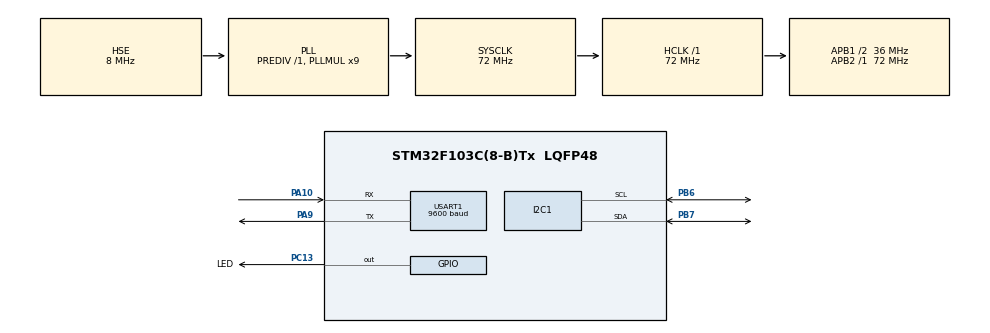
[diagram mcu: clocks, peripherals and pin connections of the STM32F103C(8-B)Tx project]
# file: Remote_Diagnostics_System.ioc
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I2C1.I2C_Mode=I2C_Standard
Mcu.Family=STM32F1
Mcu.Name=STM32F103C(8-B)Tx
Mcu.Package=LQFP48
NVIC.PriorityGroup=NVIC_PRIORITYGROUP_4
PA10.Mode=Asynchronous
PA10.Signal=USART1_RX
PA13.Mode=Trace_Asynchronous_SW
PA13.Signal=SYS_JTMS-SWDIO
PA14.Mode=Trace_Asynchronous_SW
PA14.Signal=SYS_JTCK-SWCLK
PA9.Mode=Asynchronous
PA9.Signal=USART1_TX
PB3.Mode=Trace_Asynchronous_SW
PB3.Signal=SYS_JTDO-TRACESWO
PB6.Mode=I2C
PB6.Signal=I2C1_SCL
PB7.Mode=I2C
PB7.Signal=I2C1_SDA
PC13-TAMPER-RTC.GPIO_Label=LED
PC13-TAMPER-RTC.Signal=GPIO_Output
PD0-OSC_IN.Mode=HSE-External-Oscillator
PD0-OSC_IN.Signal=RCC_OSC_IN
PD1-OSC_OUT.Mode=HSE-External-Oscillator
PD1-OSC_OUT.Signal=RCC_OSC_OUT
ProjectManager.HeapSize=0x200
ProjectManager.StackSize=0x400
ProjectManager.TargetToolchain=STM32CubeIDE
RCC.ADCPresc=RCC_ADCPCLK2_DIV6
RCC.AHBFreq_Value=72000000
RCC.APB1CLKDivider=RCC_HCLK_DIV2
RCC.APB1Freq_Value=36000000
RCC.APB1TimFreq_Value=72000000
RCC.APB2Freq_Value=72000000
RCC.APB2TimFreq_Value=72000000
RCC.HCLKFreq_Value=72000000
RCC.PLLMUL=RCC_PLL_MUL9
RCC.PLLSourceVirtual=RCC_PLLSOURCE_HSE
RCC.SYSCLKFreq_VALUE=72000000
RCC.SYSCLKSource=RCC_SYSCLKSOURCE_PLLCLK
RCC.USBFreq_Value=72000000
USART1.BaudRate=9600
USART1.VirtualMode=VM_ASYNC
board=custom

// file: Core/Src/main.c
/* USER CODE BEGIN Header */
/**
  ******************************************************************************
  * @file           : main.c
  * @brief          : Main program body
  ******************************************************************************
  * @attention
  *
  * <h2><center>&copy; Copyright (c) 2020 STMicroelectronics.
  * All rights reserved.</center></h2>
  *
  * This software component is licensed by ST under BSD 3-Clause license,
  * the "License"; You may not use this file except in compliance with the
  * License. You may obtain a copy of the License at:
  *                        opensource.org/licenses/BSD-3-Clause
  *
  ******************************************************************************
  */
/* USER CODE END Header */

#include "main.h"

/* USER CODE BEGIN Includes */
#include <stdlib.h>
#include <stdio.h>
#include "MPU6050_LIB.h"

/* USER CODE END Includes */

I2C_HandleTypeDef hi2c1;

UART_HandleTypeDef huart1;

/* USER CODE BEGIN PV */

// seed values
float ax=0.0, ay=100.0, az=200.0;
//int iax=0;
uint8_t bytes_temp[4];

/*
 * @brief Structure to hold and receive all sensor data
 * @param Voltage (V), Current (I), Temperature (t), Speed (S), Throttle (Th),
 * @size (5 x uint16) + (6 x Bool(1)) + (6 x Float(4)) = 34B + 1B (for Bool)
 */

struct TX_Frame{

	//uint16_t V,I,t,S, Th;
	//_Bool _Sys, _HL, _FAIL, _BR, _MODEH, _MODEL;
	float AX, AY, AZ; //GX, GY, GZ;

} TX_Data1;
/* USER CODE END PV */

void SystemClock_Config(void);
static void MX_GPIO_Init(void);
static void MX_I2C1_Init(void);
static void MX_USART1_UART_Init(void);

/* USER CODE BEGIN 0 */

float genXLvals(uint16_t min, uint16_t max)
{
  return (rand() % ((max-min+1)) + min);
}

/*
 * @brief Function to convert and send data over UART
 * @param XL_Data, UART Handle Typedef
 */
void sendStruct(struct TX_Frame* data, UART_HandleTypeDef* huart){
  // UART can only send unsigned int
  // Thus we need to convert our struct data
  char buffer[sizeof(data)]; // Create a char buffer of right size

  // Copy the data to buffer
  memcpy(buffer, &data, sizeof(data)); // Copy and convert the data
  // Ideally buffer will be 12B long, 4B for each axes data
  // Now we can finally send this data
  HAL_UART_Transmit(huart, (uint8_t*) buffer, sizeof(buffer), 50);
  // The last param is timeout duration in ms
}

//Custom write funtion for printing in SWO printf Trace
int _write(int file, char *ptr, int len)
{
  /* Implement your write code here, this is used by puts and printf for example */
  int i=0;
  for(i=0 ; i<len ; i++)
    ITM_SendChar((*ptr++));
  return len;
}

/* USER CODE END 0 */

int main(void)
{
  /* USER CODE BEGIN 1 */
  //HAL_UART_Transmit(&huart1, (uint8_t*)"initialized \n", strlen("initialized \n"), 500);

  //HAL_Delay(1000);
  //HAL_UART_Transmit(&huart1, (uint8_t*)"MPU6050 \n", strlen("MPU6050 \n"), 500);

  /* USER CODE END 1 */

  /* MCU Configuration--------------------------------------------------------*/

  /* Reset of all peripherals, Initializes the Flash interface and the Systick. */
  HAL_Init();

  /* USER CODE BEGIN Init */
  //MPU6050_Init();

  /* USER CODE END Init */

  /* Configure the system clock */
  SystemClock_Config();

  /* Initialize all configured peripherals */
  MX_GPIO_Init();
  MX_I2C1_Init();
  MX_USART1_UART_Init();
  /* USER CODE BEGIN 2 */
  void float2Bytes(uint8_t* ftoa_bytes_temp,float float_variable)
  {
    union
	{
      float a;
      unsigned char bytes[4];
    } thing;

    thing.a = float_variable;

    for (uint8_t i = 0; i < 4; i++)
    {
		  ftoa_bytes_temp[i] = thing.bytes[i];
	}

  }

  /* USER CODE END 2 */

  /* Infinite loop */
  /* USER CODE BEGIN WHILE */
  while (1)
  {

	  // Indicate Start of Sequence with "S"
	  HAL_UART_Transmit(&huart1,"S", 1, 50);

	  //Read Fresh Accelerometer Values
	  //MPU6050_Read_Accel();

	  // Populate the Accelerometer Structure
	  HAL_GPIO_WritePin(LED_GPIO_Port, LED_Pin, RESET);
	  float2Bytes(bytes_temp,ax);
	  HAL_UART_Transmit(&huart1,bytes_temp, sizeof(bytes_temp), 50);
	  ax= ax+0.1;
	  float2Bytes(bytes_temp,ay);
	  HAL_UART_Transmit(&huart1,bytes_temp, sizeof(bytes_temp), 50);
	  ay= ay+0.2;
	  float2Bytes(bytes_temp,az);
	  HAL_UART_Transmit(&huart1,bytes_temp, sizeof(bytes_temp), 50);
	  az= az+0.3;

	  HAL_GPIO_WritePin(LED_GPIO_Port, LED_Pin, RESET);

	  //HAL_UART_Transmit(&huart1, (uint8_t*)"\n", sizeof("\n"), 50);
	  //float2Bytes(bytes_temp, Ay);
	  //HAL_UART_Transmit(&huart1, (uint8_t*)bytes_temp, sizeof(bytes_temp), 50);
	  //float2Bytes(bytes_temp, Az);
	  //HAL_UART_Transmit(&huart1, (uint8_t*)bytes_temp, sizeof(bytes_temp), 50);
	  //TX_Data1.AX = Ax;
	  //c=TX_Data1.AX;
	  //TX_Data1.AY = Ay;
	  //d=TX_Data1.AY;
	  //TX_Data1.AZ = Az;
	  //e=TX_Data1.AZ;

	  // Send the Data over UART
	  //sendStruct(&TX_Data1, &huart1); // huart1 is auto-generated for USART1

	  //float f;
	  //memcpy(&f, &bytes_temp, sizeof(f));
	  //return f;

	  printf ("Data Sent is Ax= %.2f Ay=%.2f Az=%.2f \n", ax, ay, az);
	  //printf ("Data Sent is Ax= %d \n", iax);

	  // Indicate End of Sequence with "Z"
	  //HAL_UART_Transmit(&huart1, (uint8_t*)"b", sizeof("b"), 50);
	  HAL_Delay(500); // Delay for 500ms

    /* USER CODE END WHILE */

  }
}

void SystemClock_Config(void)
{
  RCC_OscInitTypeDef RCC_OscInitStruct = {0};
  RCC_ClkInitTypeDef RCC_ClkInitStruct = {0};

  /** Initializes the CPU, AHB and APB busses clocks
  */
  RCC_OscInitStruct.OscillatorType = RCC_OSCILLATORTYPE_HSE;
  RCC_OscInitStruct.HSEState = RCC_HSE_ON;
  RCC_OscInitStruct.HSEPredivValue = RCC_HSE_PREDIV_DIV1;
  RCC_OscInitStruct.HSIState = RCC_HSI_ON;
  RCC_OscInitStruct.PLL.PLLState = RCC_PLL_ON;
  RCC_OscInitStruct.PLL.PLLSource = RCC_PLLSOURCE_HSE;
  RCC_OscInitStruct.PLL.PLLMUL = RCC_PLL_MUL9;
  if (HAL_RCC_OscConfig(&RCC_OscInitStruct) != HAL_OK)
  {
    Error_Handler();
  }
  /** Initializes the CPU, AHB and APB busses clocks
  */
  RCC_ClkInitStruct.ClockType = RCC_CLOCKTYPE_HCLK|RCC_CLOCKTYPE_SYSCLK
                              |RCC_CLOCKTYPE_PCLK1|RCC_CLOCKTYPE_PCLK2;
  RCC_ClkInitStruct.SYSCLKSource = RCC_SYSCLKSOURCE_PLLCLK;
  RCC_ClkInitStruct.AHBCLKDivider = RCC_SYSCLK_DIV1;
  RCC_ClkInitStruct.APB1CLKDivider = RCC_HCLK_DIV2;
  RCC_ClkInitStruct.APB2CLKDivider = RCC_HCLK_DIV1;

  if (HAL_RCC_ClockConfig(&RCC_ClkInitStruct, FLASH_LATENCY_2) != HAL_OK)
  {
    Error_Handler();
  }
}

static void MX_I2C1_Init(void)
{

  hi2c1.Instance = I2C1;
  hi2c1.Init.ClockSpeed = 100000;
  hi2c1.Init.DutyCycle = I2C_DUTYCYCLE_2;
  hi2c1.Init.OwnAddress1 = 0;
  hi2c1.Init.AddressingMode = I2C_ADDRESSINGMODE_7BIT;
  hi2c1.Init.DualAddressMode = I2C_DUALADDRESS_DISABLE;
  hi2c1.Init.OwnAddress2 = 0;
  hi2c1.Init.GeneralCallMode = I2C_GENERALCALL_DISABLE;
  hi2c1.Init.NoStretchMode = I2C_NOSTRETCH_DISABLE;
  if (HAL_I2C_Init(&hi2c1) != HAL_OK)
  {
    Error_Handler();
  }

}

static void MX_USART1_UART_Init(void)
{

  huart1.Instance = USART1;
  huart1.Init.BaudRate = 9600;
  huart1.Init.WordLength = UART_WORDLENGTH_8B;
  huart1.Init.StopBits = UART_STOPBITS_1;
  huart1.Init.Parity = UART_PARITY_NONE;
  huart1.Init.Mode = UART_MODE_TX_RX;
  huart1.Init.HwFlowCtl = UART_HWCONTROL_NONE;
  huart1.Init.OverSampling = UART_OVERSAMPLING_16;
  if (HAL_UART_Init(&huart1) != HAL_OK)
  {
    Error_Handler();
  }

}

static void MX_GPIO_Init(void)
{
  GPIO_InitTypeDef GPIO_InitStruct = {0};

  /* GPIO Ports Clock Enable */
  __HAL_RCC_GPIOC_CLK_ENABLE();
  __HAL_RCC_GPIOD_CLK_ENABLE();
  __HAL_RCC_GPIOA_CLK_ENABLE();
  __HAL_RCC_GPIOB_CLK_ENABLE();

  /*Configure GPIO pin Output Level */
  HAL_GPIO_WritePin(LED_GPIO_Port, LED_Pin, GPIO_PIN_RESET);

  /*Configure GPIO pin : LED_Pin */
  GPIO_InitStruct.Pin = LED_Pin;
  GPIO_InitStruct.Mode = GPIO_MODE_OUTPUT_PP;
  GPIO_InitStruct.Pull = GPIO_NOPULL;
  GPIO_InitStruct.Speed = GPIO_SPEED_FREQ_LOW;
  HAL_GPIO_Init(LED_GPIO_Port, &GPIO_InitStruct);

}

void Error_Handler(void)
{
}

/************************ (C) COPYRIGHT STMicroelectronics *****END OF FILE****/
